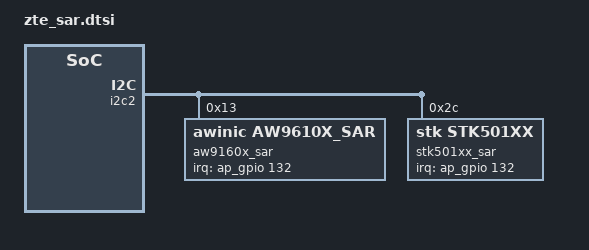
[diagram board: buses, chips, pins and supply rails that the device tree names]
&i2c2 {
	status = "okay";
	aw9160x_sar@13 {
		compatible = "awinic,aw9610x_sar";
		reg = <0x13>;
		sar-num = < 0 >;
		irq-gpio = <&ap_gpio 132 0>;
		chip_name = "AW96103";
		channel_use_flag = <0x03>;
		status = "okay" ;
	};

	stk501xx_sar@2C {
		compatible = "stk,stk501xx";
		reg = <0x2C>;

		stk501xx,irq-gpio = <&ap_gpio 132 0>;
		chip_name = "STK50153";
		status = "okay" ;
	};
};
